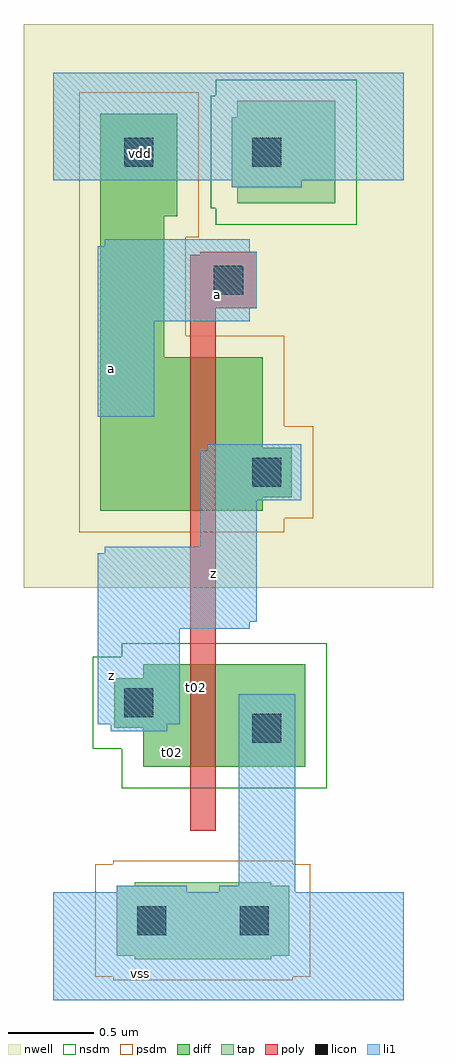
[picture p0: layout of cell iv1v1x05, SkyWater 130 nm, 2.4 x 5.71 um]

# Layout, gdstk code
import gdstk
lib = gdstk.Library(unit=1e-6, precision=5e-09)
def R(c, l, rs):  # rectangles x0, y0, x1, y1
    for r in rs: c.add(gdstk.rectangle(r[:2], r[2:], *l))
nwell = (64, 20)
diff = (65, 20)
tap = (65, 44)
poly = (66, 20)
licon = (66, 44)
li1 = (67, 20)
nsdm = (93, 44)
psdm = (94, 20)

iv1v1x05 = lib.new_cell('iv1v1x05')
R(iv1v1x05, nwell, [(-0.3,2.4,2.1,5.7)])
R(iv1v1x05, diff, [(0.4,1.35,1.35,1.95), (0.23,1.58,1.35,1.87), (0.15,2.85,0.525,5.175), (0.15,2.85,1.1,3.75), (0.15,2.93,1.27,3.22), (0.15,4.575,0.6,5.175)])
R(iv1v1x05, tap, [(0.35,0.225,1.15,0.675), (0.245,0.245,1.255,0.655), (0.95,4.65,1.525,5.25), (0.92,4.745,1.525,5.155)])
R(iv1v1x05, poly, [(0.675,0.975,0.825,4.35), (0.675,4.035,1.065,4.35), (0.735,4.035,1.065,4.365)])
R(iv1v1x05, licon, [(0.365,0.365,0.535,0.535), (0.965,0.365,1.135,0.535), (1.04,1.49,1.21,1.66), (0.29,1.64,0.46,1.81), (1.04,2.99,1.21,3.16), (0.815,4.115,0.985,4.285), (0.29,4.865,0.46,5.035), (1.04,4.865,1.21,5.035)])
R(iv1v1x05, li1, [(-0.125,-0.015,1.925,0.615), (-0.125,-0.015,1.925,0.615), (0.245,-0.015,0.655,0.655), (0.845,-0.015,1.29,0.655), (0.96,-0.015,1.29,1.775), (0.21,1.56,0.54,2.64), (0.135,1.6,0.615,2.6), (0.175,1.6,0.615,2.64), (0.135,1.675,0.465,2.525), (0.135,2.16,1.025,2.6), (0.175,2.16,1.025,2.64), (0.735,2.16,1.025,3.2), (0.775,2.16,1.025,3.24), (0.135,2.2,1.065,2.6), (0.135,2.2,1.065,2.6), (0.135,2.2,1.065,2.6), (0.135,2.2,1.065,2.6), (0.175,2.2,1.065,2.64), (0.735,2.2,1.065,3.2), (0.775,2.2,1.065,3.24), (0.735,2.275,1.065,3.125), (0.735,2.91,1.325,3.2), (0.775,2.91,1.325,3.24), (0.135,3.4,0.465,4.4), (0.175,3.4,0.465,4.44), (0.175,3.4,0.465,4.44), (0.135,3.475,0.465,4.325), (0.135,3.96,1.025,4.4), (0.175,3.96,1.025,4.44), (0.135,4.035,1.065,4.365), (0.775,4.035,1.025,4.365), (0.92,4.745,1.33,5.415), (-0.125,4.785,1.925,5.415), (-0.125,4.785,1.925,5.415)])
R(iv1v1x05, nsdm, [(0.275,1.225,1.475,2.075), (0.9,1.35,1.35,1.95), (0.9,1.35,1.35,1.95), (0.98,1.43,1.27,1.72), (0.105,1.455,1.475,1.995), (0.23,1.58,0.52,1.87), (0.825,4.525,1.65,5.375), (0.795,4.62,1.65,5.28)])
R(iv1v1x05, psdm, [(0.225,0.1,1.275,0.8), (0.12,0.12,1.38,0.78), (0.025,2.725,0.65,5.3), (0.025,2.725,1.225,3.875), (0.025,2.805,1.395,3.345), (0.15,2.85,0.45,5.175), (0.15,2.85,0.45,5.175), (0.225,2.85,0.525,5.175), (0.225,2.85,0.525,5.175), (0.98,2.93,1.27,3.22), (0.025,4.45,0.725,5.3), (0.15,4.575,0.6,5.175), (0.15,4.575,0.6,5.175), (0.23,4.805,0.52,5.095)])
iv1v1x05.add(gdstk.Label('t02', (0.575,1.435), layer=93, texttype=44))
iv1v1x05.add(gdstk.Label('t02', (0.71,1.815), layer=66, texttype=20))
iv1v1x05.add(gdstk.Label('z', (0.215,1.885), layer=67, texttype=20))
iv1v1x05.add(gdstk.Label('a', (0.215,3.685), layer=67, texttype=20))
iv1v1x05.add(gdstk.Label('z', (0.815,2.485), layer=67, texttype=20))
iv1v1x05.add(gdstk.Label('a', (0.835,4.115), layer=67, texttype=20))
iv1v1x05.add(gdstk.Label('vss', (0.385,0.14), layer=67, texttype=20))
iv1v1x05.add(gdstk.Label('vdd', (0.385,4.94), layer=67, texttype=20))

lib.write_gds('iv1v1x05.gds')
